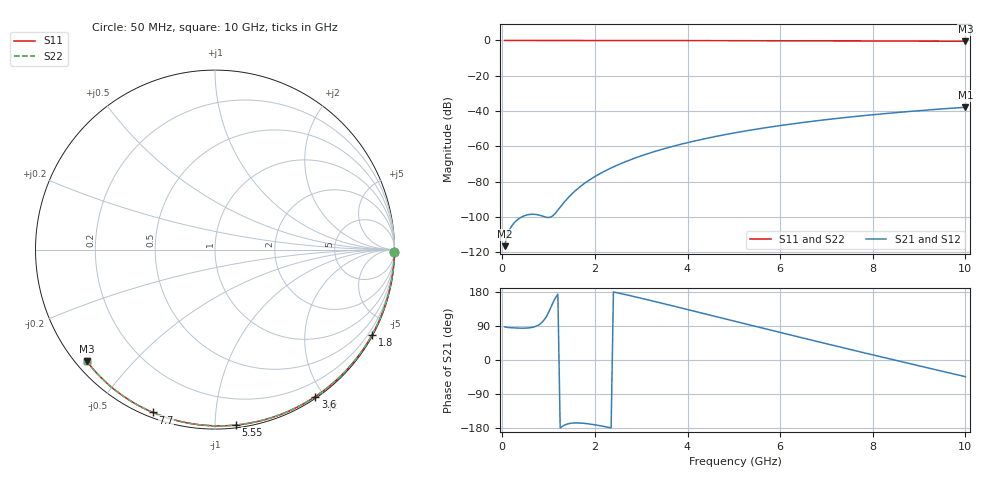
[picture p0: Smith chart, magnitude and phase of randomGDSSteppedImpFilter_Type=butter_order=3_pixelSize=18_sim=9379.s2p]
! freq	dB(S11)	phase(S11)	dB(S12)	phase(S12)
!  dB(S21)	phase(S21)	dB(S22)	phase(S22)
!S-par simulation data
#  GHz  S  DB  R 50
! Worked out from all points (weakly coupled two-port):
!   200 points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, 50 MHz to 10 GHz, reference 50 ohm
!   highest |S21| = -37.83 dB at 10 GHz (marker M1); lowest = -116.5 dB at 50 MHz (marker M2)
!   lowest |S11| = -0.5 dB at 10 GHz (marker M3), VSWR 36.92, Z = 1.54 - j18.7 ohm
!   |S11| at or under -10 dB: nowhere
!   |S22| runs from -0.5 to 0.0 dB; largest |S21 - S12| = 0
!   S11 on the Smith chart (normalised r, x): 50 MHz: open; 1.8 GHz: 0.03, -3.93; 3.6 GHz: 0.02, -1.89; 5.55 GHz: 0.02, -1.13; 7.7 GHz: 0.02, -0.69; 10 GHz: 0.03, -0.37
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0.05  -0.00 -0.8  -116.49 87.5  -116.49 87.5  -0.00 -0.8
0.45  -0.01 -7.2  -99.56 84.0  -99.56 84.0  -0.01 -7.2
0.9  -0.02 -14.4  -99.75 105.2  -99.75 105.2  -0.02 -14.4
1.75  -0.04 -27.7  -81.41 -167.0  -81.41 -167.0  -0.04 -27.7
1.8  -0.04 -28.5  -80.46 -167.6  -80.46 -167.6  -0.04 -28.5
1.85  -0.04 -29.3  -79.56 -168.3  -79.56 -168.3  -0.04 -29.3
2.05  -0.04 -32.4  -76.30 -172.0  -76.30 -172.0  -0.04 -32.4
2.25  -0.05 -35.5  -73.48 -176.6  -73.48 -176.6  -0.05 -35.5
2.55  -0.05 -40.1  -69.84 175.6  -69.84 175.6  -0.05 -40.1
2.95  -0.06 -46.1  -65.80 164.4  -65.80 164.4  -0.06 -46.1
3.4  -0.07 -52.8  -62.02 151.2  -62.02 151.2  -0.07 -52.8
3.6  -0.08 -55.7  -60.54 145.2  -60.54 145.2  -0.08 -55.7
3.9  -0.08 -60.1  -58.49 136.2  -58.49 136.2  -0.08 -60.1
4.3  -0.09 -65.8  -56.05 124.1  -56.05 124.1  -0.09 -65.8
5.05  -0.12 -76.3  -52.17 101.4  -52.17 101.4  -0.12 -76.3
5.55  -0.14 -83.1  -49.96 86.3  -49.96 86.3  -0.14 -83.1
6.1  -0.16 -90.4  -47.82 69.7  -47.82 69.7  -0.16 -90.4
6.7  -0.19 -98.2  -45.76 51.8  -45.76 51.8  -0.19 -98.3
7.7  -0.25 -110.9  -42.84 22.3  -42.84 22.3  -0.25 -110.9
8.35  -0.30 -119.0  -41.21 3.4  -41.21 3.4  -0.30 -119.0
9.2  -0.38 -129.3  -39.35 -21.1  -39.35 -21.1  -0.38 -129.3
10  -0.47 -139.1  -37.83 -44.0  -37.83 -44.0  -0.47 -139.0
